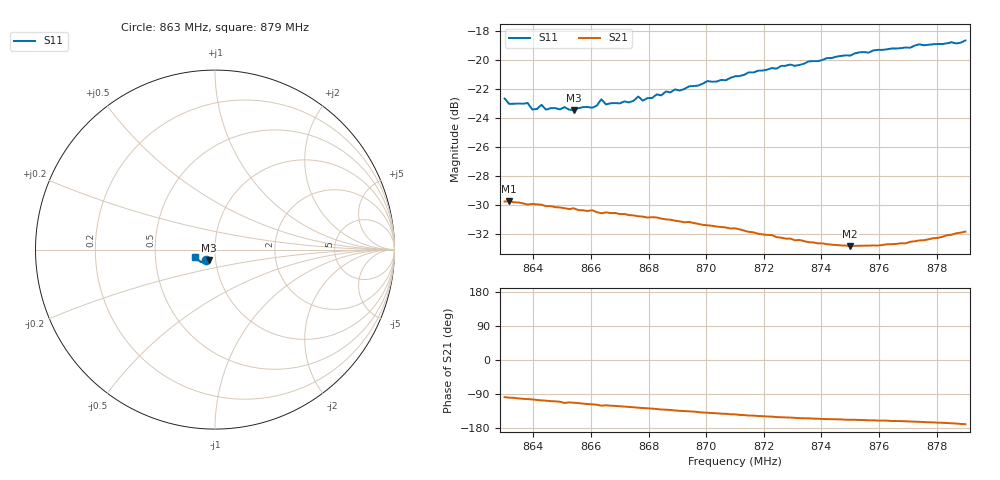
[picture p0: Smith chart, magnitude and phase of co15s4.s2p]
# HZ S RI R 50
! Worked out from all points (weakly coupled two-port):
!   101 points, 863 MHz to 879 MHz, reference 50 ohm
!   highest |S21| = -29.74 dB at 863.16 MHz (marker M1); lowest = -32.8 dB at 875 MHz (marker M2)
!   lowest |S11| = -23.5 dB at 865.4 MHz (marker M3), VSWR 1.14, Z = 46.3 - j5.31 ohm
!   |S11| at or under -10 dB: start of sweep to end of sweep
!   S12 and S22 are empty: the file has one direction only
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8.63e8  -0.0476 -0.0561  -0.00456 -0.0322  0 0  0 0
8.6316e8  -0.044 -0.055  -0.00532 -0.0322  0 0  0 0
8.638e8  -0.044 -0.0557  -0.0072 -0.0309  0 0  0 0
8.6396e8  -0.0402 -0.0542  -0.00775 -0.031  0 0  0 0
8.6428e8  -0.0407 -0.0569  -0.00906 -0.0304  0 0  0 0
8.6444e8  -0.0394 -0.0546  -0.00937 -0.0299  0 0  0 0
8.6508e8  -0.0388 -0.0567  -0.0123 -0.0283  0 0  0 0
8.654e8  -0.0354 -0.0571  -0.0119 -0.0284  0 0  0 0
8.6572e8  -0.0366 -0.0581  -0.0129 -0.0275  0 0  0 0
8.6604e8  -0.0353 -0.0585  -0.0138 -0.0271  0 0  0 0
8.6636e8  -0.0412 -0.0604  -0.0151 -0.0255  0 0  0 0
8.6652e8  -0.0358 -0.0604  -0.0147 -0.026  0 0  0 0
8.6732e8  -0.0359 -0.0616  -0.0163 -0.0243  0 0  0 0
8.6764e8  -0.0374 -0.0647  -0.017 -0.0234  0 0  0 0
8.678e8  -0.0361 -0.0627  -0.0172 -0.0232  0 0  0 0
8.6844e8  -0.0374 -0.0655  -0.0185 -0.0216  0 0  0 0
8.686e8  -0.0383 -0.0677  -0.0186 -0.0213  0 0  0 0
8.71e8  -0.0492 -0.0726  -0.0211 -0.0157  0 0  0 0
8.7372e8  -0.0675 -0.0723  -0.0213 -0.0101  0 0  0 0
8.75e8  -0.0784 -0.0673  -0.0212 -0.00863  0 0  0 0
8.7644e8  -0.0908 -0.0607  -0.0219 -0.00758  0 0  0 0
8.79e8  -0.1098 -0.0388  -0.0252 -0.00471  0 0  0 0
